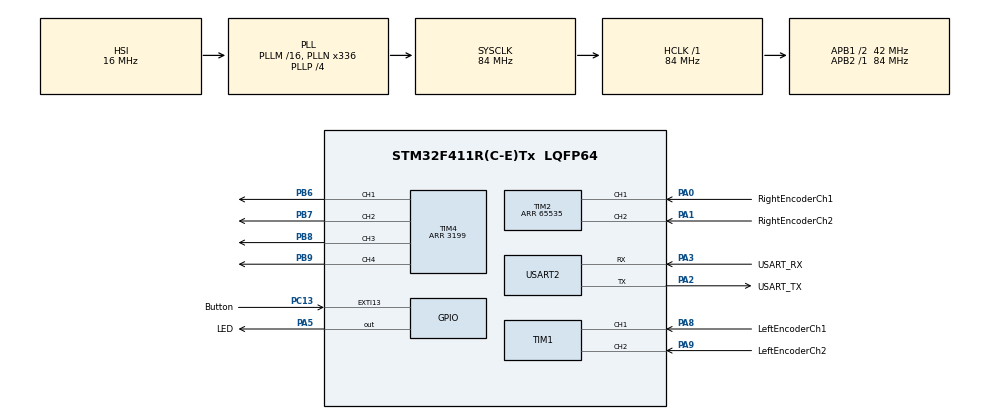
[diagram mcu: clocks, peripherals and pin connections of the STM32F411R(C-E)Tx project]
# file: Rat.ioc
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Mcu.Family=STM32F4
Mcu.Name=STM32F411R(C-E)Tx
Mcu.Package=LQFP64
NVIC.EXTI15_10_IRQn=true\:0\:0\:false\:false\:true\:true\:true\:true
NVIC.PriorityGroup=NVIC_PRIORITYGROUP_0
NVIC.TIM4_IRQn=true\:0\:0\:false\:false\:true\:true\:true\:true
PA0-WKUP.GPIO_Label=RightEncoderCh1
PA0-WKUP.Signal=S_TIM2_CH1_ETR
PA1.GPIO_Label=RightEncoderCh2
PA1.Signal=S_TIM2_CH2
PA13.GPIO_Label=TMS
PA13.Mode=Serial_Wire
PA13.Signal=SYS_JTMS-SWDIO
PA14.GPIO_Label=TCK
PA14.Mode=Serial_Wire
PA14.Signal=SYS_JTCK-SWCLK
PA2.GPIO_Label=USART_TX
PA2.Mode=Asynchronous
PA2.Signal=USART2_TX
PA3.GPIO_Label=USART_RX
PA3.Mode=Asynchronous
PA3.Signal=USART2_RX
PA5.GPIO_Label=LED
PA5.Signal=GPIO_Output
PA8.GPIO_Label=LeftEncoderCh1
PA8.Signal=S_TIM1_CH1
PA9.GPIO_Label=LeftEncoderCh2
PA9.Signal=S_TIM1_CH2
PB3.GPIO_Label=SWO
PB3.Signal=SYS_JTDO-SWO
PB6.Signal=S_TIM4_CH1
PB7.Signal=S_TIM4_CH2
PB8.Signal=S_TIM4_CH3
PB9.Signal=S_TIM4_CH4
PC13-ANTI_TAMP.GPIO_Label=Button
PC13-ANTI_TAMP.GPIO_ModeDefaultEXTI=GPIO_MODE_IT_RISING_FALLING
PC13-ANTI_TAMP.Signal=GPXTI13
PC14-OSC32_IN.Mode=LSE-External-Oscillator
PC14-OSC32_IN.Signal=RCC_OSC32_IN
PC15-OSC32_OUT.Mode=LSE-External-Oscillator
PC15-OSC32_OUT.Signal=RCC_OSC32_OUT
PH0\ -\ OSC_IN.Mode=HSE-External-Clock-Source
PH0\ -\ OSC_IN.Signal=RCC_OSC_IN
PH1\ -\ OSC_OUT.Mode=HSE-External-Clock-Source
PH1\ -\ OSC_OUT.Signal=RCC_OSC_OUT
ProjectManager.HeapSize=0x200
ProjectManager.StackSize=0x400
ProjectManager.TargetToolchain=STM32CubeIDE
RCC.48MHZClocksFreq_Value=84000000
RCC.AHBFreq_Value=84000000
RCC.APB1CLKDivider=RCC_HCLK_DIV2
RCC.APB1Freq_Value=42000000
RCC.APB1TimFreq_Value=84000000
RCC.APB2Freq_Value=84000000
RCC.APB2TimFreq_Value=84000000
RCC.CortexFreq_Value=84000000
RCC.FLatency-AdvancedSettings=FLASH_LATENCY_2
RCC.HCLKFreq_Value=84000000
RCC.HSE_VALUE=8000000
RCC.HSI_VALUE=16000000
RCC.PLLN=336
RCC.PLLP=RCC_PLLP_DIV4
RCC.SYSCLKFreq_VALUE=84000000
RCC.SYSCLKSource=RCC_SYSCLKSOURCE_PLLCLK
RCC.VCOOutputFreq_Value=336000000
SH.S_TIM1_CH1.0=TIM1_CH1,Encoder_Interface
SH.S_TIM1_CH2.0=TIM1_CH2,Encoder_Interface
SH.S_TIM2_CH1_ETR.0=TIM2_CH1,Encoder_Interface
SH.S_TIM2_CH2.0=TIM2_CH2,Encoder_Interface
SH.S_TIM4_CH1.0=TIM4_CH1,PWM Generation1 CH1
SH.S_TIM4_CH2.0=TIM4_CH2,PWM Generation2 CH2
SH.S_TIM4_CH3.0=TIM4_CH3,PWM Generation3 CH3
SH.S_TIM4_CH4.0=TIM4_CH4,PWM Generation4 CH4
TIM1.EncoderMode=TIM_ENCODERMODE_TI12
TIM2.EncoderMode=TIM_ENCODERMODE_TI12
TIM2.Period=65535
TIM4.Channel-PWM\ Generation1\ CH1=TIM_CHANNEL_1
TIM4.Channel-PWM\ Generation2\ CH2=TIM_CHANNEL_2
TIM4.Channel-PWM\ Generation3\ CH3=TIM_CHANNEL_3
TIM4.Channel-PWM\ Generation4\ CH4=TIM_CHANNEL_4
TIM4.Period=3199
USART2.VirtualMode=VM_ASYNC
board=NUCLEO-F411RE

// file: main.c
/* USER CODE BEGIN Header */
/**
  ******************************************************************************
  * @file           : main.c
  * @brief          : Main program body
  ******************************************************************************
  * @attention
  *
  * Copyright (c) 2024 STMicroelectronics.
  * All rights reserved.
  *
  * This software is licensed under terms that can be found in the LICENSE file
  * in the root directory of this software component.
  * If no LICENSE file comes with this software, it is provided AS-IS.
  *
  ******************************************************************************
  */
/* USER CODE END Header */
#include "main.h"

/* USER CODE BEGIN Includes */
#include "motors.h"
/* USER CODE END Includes */

TIM_HandleTypeDef htim1;
TIM_HandleTypeDef htim2;
TIM_HandleTypeDef htim4;

UART_HandleTypeDef huart2;

/* USER CODE BEGIN PV */
int16_t left_counts = 0;
int16_t right_counts = 0;

/* USER CODE END PV */

void SystemClock_Config(void);
static void MX_GPIO_Init(void);
static void MX_USART2_UART_Init(void);
static void MX_TIM1_Init(void);
static void MX_TIM2_Init(void);
static void MX_TIM4_Init(void);

int main(void)
{

  /* MCU Configuration--------------------------------------------------------*/

  /* Reset of all peripherals, Initializes the Flash interface and the Systick. */
  HAL_Init();

  /* Configure the system clock */
  SystemClock_Config();

  /* Initialize all configured peripherals */
  MX_GPIO_Init();
  MX_USART2_UART_Init();
  MX_TIM1_Init();
  MX_TIM2_Init();
  MX_TIM4_Init();
  /* USER CODE BEGIN 2 */
  HAL_TIM_Encoder_Start(&htim1, TIM_CHANNEL_ALL);
  HAL_TIM_Encoder_Start(&htim2, TIM_CHANNEL_ALL);
  HAL_TIM_PWM_Start(&htim4, TIM_CHANNEL_1);
  HAL_TIM_PWM_Start(&htim4, TIM_CHANNEL_2);
  HAL_TIM_PWM_Start(&htim4, TIM_CHANNEL_3);
  HAL_TIM_PWM_Start(&htim4, TIM_CHANNEL_4);
  setMotorLPWM(-0.4);
  setMotorRPWM(0.3);

  /* USER CODE END 2 */

  /* Infinite loop */
  /* USER CODE BEGIN WHILE */

  while (1)
  {
	  left_counts = getLeftEncoderCounts();
	  right_counts = getRightEncoderCounts();
    /* USER CODE END WHILE */

  }
}

void SystemClock_Config(void)
{
  RCC_OscInitTypeDef RCC_OscInitStruct = {0};
  RCC_ClkInitTypeDef RCC_ClkInitStruct = {0};

  /** Configure the main internal regulator output voltage
  */
  __HAL_RCC_PWR_CLK_ENABLE();
  __HAL_PWR_VOLTAGESCALING_CONFIG(PWR_REGULATOR_VOLTAGE_SCALE1);

  /** Initializes the RCC Oscillators according to the specified parameters
  * in the RCC_OscInitTypeDef structure.
  */
  RCC_OscInitStruct.OscillatorType = RCC_OSCILLATORTYPE_HSI;
  RCC_OscInitStruct.HSIState = RCC_HSI_ON;
  RCC_OscInitStruct.HSICalibrationValue = RCC_HSICALIBRATION_DEFAULT;
  RCC_OscInitStruct.PLL.PLLState = RCC_PLL_ON;
  RCC_OscInitStruct.PLL.PLLSource = RCC_PLLSOURCE_HSI;
  RCC_OscInitStruct.PLL.PLLM = 16;
  RCC_OscInitStruct.PLL.PLLN = 336;
  RCC_OscInitStruct.PLL.PLLP = RCC_PLLP_DIV4;
  RCC_OscInitStruct.PLL.PLLQ = 4;
  if (HAL_RCC_OscConfig(&RCC_OscInitStruct) != HAL_OK)
  {
    Error_Handler();
  }

  /** Initializes the CPU, AHB and APB buses clocks
  */
  RCC_ClkInitStruct.ClockType = RCC_CLOCKTYPE_HCLK|RCC_CLOCKTYPE_SYSCLK
                              |RCC_CLOCKTYPE_PCLK1|RCC_CLOCKTYPE_PCLK2;
  RCC_ClkInitStruct.SYSCLKSource = RCC_SYSCLKSOURCE_PLLCLK;
  RCC_ClkInitStruct.AHBCLKDivider = RCC_SYSCLK_DIV1;
  RCC_ClkInitStruct.APB1CLKDivider = RCC_HCLK_DIV2;
  RCC_ClkInitStruct.APB2CLKDivider = RCC_HCLK_DIV1;

  if (HAL_RCC_ClockConfig(&RCC_ClkInitStruct, FLASH_LATENCY_2) != HAL_OK)
  {
    Error_Handler();
  }
}

static void MX_TIM1_Init(void)
{

  TIM_Encoder_InitTypeDef sConfig = {0};
  TIM_MasterConfigTypeDef sMasterConfig = {0};

  htim1.Instance = TIM1;
  htim1.Init.Prescaler = 0;
  htim1.Init.CounterMode = TIM_COUNTERMODE_UP;
  htim1.Init.Period = 65535;
  htim1.Init.ClockDivision = TIM_CLOCKDIVISION_DIV1;
  htim1.Init.RepetitionCounter = 0;
  htim1.Init.AutoReloadPreload = TIM_AUTORELOAD_PRELOAD_DISABLE;
  sConfig.EncoderMode = TIM_ENCODERMODE_TI12;
  sConfig.IC1Polarity = TIM_ICPOLARITY_RISING;
  sConfig.IC1Selection = TIM_ICSELECTION_DIRECTTI;
  sConfig.IC1Prescaler = TIM_ICPSC_DIV1;
  sConfig.IC1Filter = 0;
  sConfig.IC2Polarity = TIM_ICPOLARITY_RISING;
  sConfig.IC2Selection = TIM_ICSELECTION_DIRECTTI;
  sConfig.IC2Prescaler = TIM_ICPSC_DIV1;
  sConfig.IC2Filter = 0;
  if (HAL_TIM_Encoder_Init(&htim1, &sConfig) != HAL_OK)
  {
    Error_Handler();
  }
  sMasterConfig.MasterOutputTrigger = TIM_TRGO_RESET;
  sMasterConfig.MasterSlaveMode = TIM_MASTERSLAVEMODE_DISABLE;
  if (HAL_TIMEx_MasterConfigSynchronization(&htim1, &sMasterConfig) != HAL_OK)
  {
    Error_Handler();
  }

}

static void MX_TIM2_Init(void)
{

  TIM_Encoder_InitTypeDef sConfig = {0};
  TIM_MasterConfigTypeDef sMasterConfig = {0};

  htim2.Instance = TIM2;
  htim2.Init.Prescaler = 0;
  htim2.Init.CounterMode = TIM_COUNTERMODE_UP;
  htim2.Init.Period = 65535;
  htim2.Init.ClockDivision = TIM_CLOCKDIVISION_DIV1;
  htim2.Init.AutoReloadPreload = TIM_AUTORELOAD_PRELOAD_DISABLE;
  sConfig.EncoderMode = TIM_ENCODERMODE_TI12;
  sConfig.IC1Polarity = TIM_ICPOLARITY_RISING;
  sConfig.IC1Selection = TIM_ICSELECTION_DIRECTTI;
  sConfig.IC1Prescaler = TIM_ICPSC_DIV1;
  sConfig.IC1Filter = 0;
  sConfig.IC2Polarity = TIM_ICPOLARITY_RISING;
  sConfig.IC2Selection = TIM_ICSELECTION_DIRECTTI;
  sConfig.IC2Prescaler = TIM_ICPSC_DIV1;
  sConfig.IC2Filter = 0;
  if (HAL_TIM_Encoder_Init(&htim2, &sConfig) != HAL_OK)
  {
    Error_Handler();
  }
  sMasterConfig.MasterOutputTrigger = TIM_TRGO_RESET;
  sMasterConfig.MasterSlaveMode = TIM_MASTERSLAVEMODE_DISABLE;
  if (HAL_TIMEx_MasterConfigSynchronization(&htim2, &sMasterConfig) != HAL_OK)
  {
    Error_Handler();
  }

}

static void MX_TIM4_Init(void)
{

  TIM_MasterConfigTypeDef sMasterConfig = {0};
  TIM_OC_InitTypeDef sConfigOC = {0};

  htim4.Instance = TIM4;
  htim4.Init.Prescaler = 0;
  htim4.Init.CounterMode = TIM_COUNTERMODE_UP;
  htim4.Init.Period = 3199;
  htim4.Init.ClockDivision = TIM_CLOCKDIVISION_DIV1;
  htim4.Init.AutoReloadPreload = TIM_AUTORELOAD_PRELOAD_DISABLE;
  if (HAL_TIM_PWM_Init(&htim4) != HAL_OK)
  {
    Error_Handler();
  }
  sMasterConfig.MasterOutputTrigger = TIM_TRGO_RESET;
  sMasterConfig.MasterSlaveMode = TIM_MASTERSLAVEMODE_DISABLE;
  if (HAL_TIMEx_MasterConfigSynchronization(&htim4, &sMasterConfig) != HAL_OK)
  {
    Error_Handler();
  }
  sConfigOC.OCMode = TIM_OCMODE_PWM1;
  sConfigOC.Pulse = 0;
  sConfigOC.OCPolarity = TIM_OCPOLARITY_HIGH;
  sConfigOC.OCFastMode = TIM_OCFAST_DISABLE;
  if (HAL_TIM_PWM_ConfigChannel(&htim4, &sConfigOC, TIM_CHANNEL_1) != HAL_OK)
  {
    Error_Handler();
  }
  if (HAL_TIM_PWM_ConfigChannel(&htim4, &sConfigOC, TIM_CHANNEL_2) != HAL_OK)
  {
    Error_Handler();
  }
  if (HAL_TIM_PWM_ConfigChannel(&htim4, &sConfigOC, TIM_CHANNEL_3) != HAL_OK)
  {
    Error_Handler();
  }
  if (HAL_TIM_PWM_ConfigChannel(&htim4, &sConfigOC, TIM_CHANNEL_4) != HAL_OK)
  {
    Error_Handler();
  }
  HAL_TIM_MspPostInit(&htim4);

}

static void MX_USART2_UART_Init(void)
{

  huart2.Instance = USART2;
  huart2.Init.BaudRate = 115200;
  huart2.Init.WordLength = UART_WORDLENGTH_8B;
  huart2.Init.StopBits = UART_STOPBITS_1;
  huart2.Init.Parity = UART_PARITY_NONE;
  huart2.Init.Mode = UART_MODE_TX_RX;
  huart2.Init.HwFlowCtl = UART_HWCONTROL_NONE;
  huart2.Init.OverSampling = UART_OVERSAMPLING_16;
  if (HAL_UART_Init(&huart2) != HAL_OK)
  {
    Error_Handler();
  }

}

static void MX_GPIO_Init(void)
{
  GPIO_InitTypeDef GPIO_InitStruct = {0};

  /* GPIO Ports Clock Enable */
  __HAL_RCC_GPIOC_CLK_ENABLE();
  __HAL_RCC_GPIOH_CLK_ENABLE();
  __HAL_RCC_GPIOA_CLK_ENABLE();
  __HAL_RCC_GPIOB_CLK_ENABLE();

  /*Configure GPIO pin Output Level */
  HAL_GPIO_WritePin(LED_GPIO_Port, LED_Pin, GPIO_PIN_RESET);

  /*Configure GPIO pin : Button_Pin */
  GPIO_InitStruct.Pin = Button_Pin;
  GPIO_InitStruct.Mode = GPIO_MODE_IT_RISING_FALLING;
  GPIO_InitStruct.Pull = GPIO_NOPULL;
  HAL_GPIO_Init(Button_GPIO_Port, &GPIO_InitStruct);

  /*Configure GPIO pin : LED_Pin */
  GPIO_InitStruct.Pin = LED_Pin;
  GPIO_InitStruct.Mode = GPIO_MODE_OUTPUT_PP;
  GPIO_InitStruct.Pull = GPIO_NOPULL;
  GPIO_InitStruct.Speed = GPIO_SPEED_FREQ_LOW;
  HAL_GPIO_Init(LED_GPIO_Port, &GPIO_InitStruct);

  /* EXTI interrupt init*/
  HAL_NVIC_SetPriority(EXTI15_10_IRQn, 0, 0);
  HAL_NVIC_EnableIRQ(EXTI15_10_IRQn);

}

/* USER CODE BEGIN 4 */

void HAL_GPIO_EXTI_Callback(uint16_t GPIO_PIN)
{
	if (GPIO_PIN == Button_Pin)
	{
	/* Your code goes here */
		if (HAL_GPIO_ReadPin(Button_GPIO_Port, Button_Pin) == GPIO_PIN_SET){
			HAL_GPIO_WritePin(LED_GPIO_Port, LED_Pin, GPIO_PIN_RESET);
		} else {
			HAL_GPIO_WritePin(LED_GPIO_Port, LED_Pin, GPIO_PIN_SET);
		}
	}
}

/* USER CODE END 4 */

void Error_Handler(void)
{
  __disable_irq();
  while (1)
  {
  }
}
